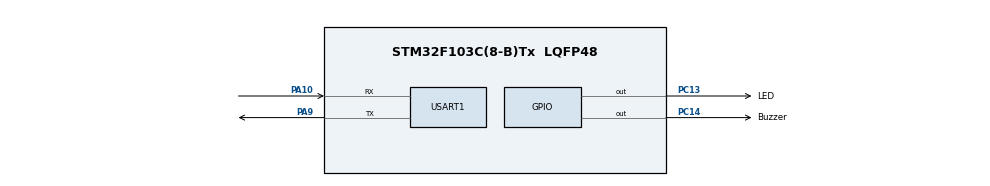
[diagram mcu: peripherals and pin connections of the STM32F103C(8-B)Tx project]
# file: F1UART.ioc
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Mcu.Family=STM32F1
Mcu.Name=STM32F103C(8-B)Tx
Mcu.Package=LQFP48
NVIC.PriorityGroup=NVIC_PRIORITYGROUP_4
NVIC.USART1_IRQn=true\:0\:0\:false\:false\:true\:true\:true\:true
PA10.Mode=Asynchronous
PA10.Signal=USART1_RX
PA13.Mode=Serial_Wire
PA13.Signal=SYS_JTMS-SWDIO
PA14.Mode=Serial_Wire
PA14.Signal=SYS_JTCK-SWCLK
PA9.Mode=Asynchronous
PA9.Signal=USART1_TX
PC13-TAMPER-RTC.GPIO_Label=LED
PC13-TAMPER-RTC.Signal=GPIO_Output
PC14-OSC32_IN.GPIO_Label=Buzzer
PC14-OSC32_IN.Signal=GPIO_Output
PD0-OSC_IN.Mode=HSE-External-Oscillator
PD0-OSC_IN.Signal=RCC_OSC_IN
PD1-OSC_OUT.Mode=HSE-External-Oscillator
PD1-OSC_OUT.Signal=RCC_OSC_OUT
ProjectManager.HeapSize=0x200
ProjectManager.StackSize=0x400
ProjectManager.TargetToolchain=STM32CubeIDE
RCC.APB1Freq_Value=8000000
RCC.APB2Freq_Value=8000000
USART1.VirtualMode=VM_ASYNC
board=custom

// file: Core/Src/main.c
/* USER CODE BEGIN Header */
/**
  ******************************************************************************
  * @file           : main.c
  * @brief          : Main program body
  ******************************************************************************
  * @attention
  *
  * Copyright (c) 2025 STMicroelectronics.
  * All rights reserved.
  *
  * This software is licensed under terms that can be found in the LICENSE file
  * in the root directory of this software component.
  * If no LICENSE file comes with this software, it is provided AS-IS.
  *
  ******************************************************************************
  */
/* USER CODE END Header */
#include "main.h"

/* USER CODE BEGIN PD */
#define F7ID 	0xAA					//F7 discovery board ID
#define Stop 	0x00					//Stop command
#define Sound1	0x01					//Sound 1 command
#define Sound2	0x02					//Sound 2 command
#define Sound3	0x03					//Sound 3 command
#define Sound4	0x04					//Sound 4 command
/* USER CODE END PD */

UART_HandleTypeDef huart1;

/* USER CODE BEGIN PV */
uint8_t RxBuffer[3];		//buffer to receive data
uint8_t sound_id;			//variable to store sound id which should be played
/* USER CODE END PV */

void SystemClock_Config(void);
static void MX_GPIO_Init(void);
static void MX_USART1_UART_Init(void);
/* USER CODE BEGIN PFP */
void StopSound();		//function declaration for stopping all sounds
void PlaySound1();		//function declaration for playing sound 1
void PlaySound2();		//function declaration for playing sound 2
void PlaySound3();		//function declaration for playing sound 3
void PlaySound4();		//function declaration for playing sound 4
/* USER CODE END PFP */

int main(void)
{

  /* MCU Configuration--------------------------------------------------------*/

  /* Reset of all peripherals, Initializes the Flash interface and the Systick. */
  HAL_Init();

  /* Configure the system clock */
  SystemClock_Config();

  /* Initialize all configured peripherals */
  MX_GPIO_Init();
  MX_USART1_UART_Init();
  /* USER CODE BEGIN 2 */
  HAL_UART_Receive_IT(&huart1, RxBuffer, (sizeof(RxBuffer)) );			//Ready to receive data
  /* USER CODE END 2 */

  /* Infinite loop */
  /* USER CODE BEGIN WHILE */
  while (1)
  {
	  if(sound_id == Stop)			//if stop command is received
	  {
		  StopSound();				//stop all sounds
	  }

	  if(sound_id == Sound1)		//if play sound 1 command is received
	  {
		  PlaySound1();				//play sound 1
	  }

	  if(sound_id == Sound2)		//if play sound 2 command is received
	  {
		  PlaySound2();				//play sound 2
	  }

	  if(sound_id == Sound3)		//if play sound 3 command is received
	  {
		  PlaySound3();				//play sound 3
	  }

	  if(sound_id == Sound4)		//if play sound 4 command is received
	  {
		  PlaySound4();				//play sound 4
	  }

    /* USER CODE END WHILE */

  }
}

void SystemClock_Config(void)
{
  RCC_OscInitTypeDef RCC_OscInitStruct = {0};
  RCC_ClkInitTypeDef RCC_ClkInitStruct = {0};

  /** Initializes the RCC Oscillators according to the specified parameters
  * in the RCC_OscInitTypeDef structure.
  */
  RCC_OscInitStruct.OscillatorType = RCC_OSCILLATORTYPE_HSI;
  RCC_OscInitStruct.HSIState = RCC_HSI_ON;
  RCC_OscInitStruct.HSICalibrationValue = RCC_HSICALIBRATION_DEFAULT;
  RCC_OscInitStruct.PLL.PLLState = RCC_PLL_NONE;
  if (HAL_RCC_OscConfig(&RCC_OscInitStruct) != HAL_OK)
  {
    Error_Handler();
  }

  /** Initializes the CPU, AHB and APB buses clocks
  */
  RCC_ClkInitStruct.ClockType = RCC_CLOCKTYPE_HCLK|RCC_CLOCKTYPE_SYSCLK
                              |RCC_CLOCKTYPE_PCLK1|RCC_CLOCKTYPE_PCLK2;
  RCC_ClkInitStruct.SYSCLKSource = RCC_SYSCLKSOURCE_HSI;
  RCC_ClkInitStruct.AHBCLKDivider = RCC_SYSCLK_DIV1;
  RCC_ClkInitStruct.APB1CLKDivider = RCC_HCLK_DIV1;
  RCC_ClkInitStruct.APB2CLKDivider = RCC_HCLK_DIV1;

  if (HAL_RCC_ClockConfig(&RCC_ClkInitStruct, FLASH_LATENCY_0) != HAL_OK)
  {
    Error_Handler();
  }
}

static void MX_USART1_UART_Init(void)
{

  huart1.Instance = USART1;
  huart1.Init.BaudRate = 115200;
  huart1.Init.WordLength = UART_WORDLENGTH_8B;
  huart1.Init.StopBits = UART_STOPBITS_1;
  huart1.Init.Parity = UART_PARITY_NONE;
  huart1.Init.Mode = UART_MODE_TX_RX;
  huart1.Init.HwFlowCtl = UART_HWCONTROL_NONE;
  huart1.Init.OverSampling = UART_OVERSAMPLING_16;
  if (HAL_UART_Init(&huart1) != HAL_OK)
  {
    Error_Handler();
  }

}

static void MX_GPIO_Init(void)
{
  GPIO_InitTypeDef GPIO_InitStruct = {0};

  /* GPIO Ports Clock Enable */
  __HAL_RCC_GPIOC_CLK_ENABLE();
  __HAL_RCC_GPIOD_CLK_ENABLE();
  __HAL_RCC_GPIOA_CLK_ENABLE();

  /*Configure GPIO pin Output Level */
  HAL_GPIO_WritePin(GPIOC, LED_Pin|Buzzer_Pin, GPIO_PIN_RESET);

  /*Configure GPIO pins : LED_Pin Buzzer_Pin */
  GPIO_InitStruct.Pin = LED_Pin|Buzzer_Pin;
  GPIO_InitStruct.Mode = GPIO_MODE_OUTPUT_PP;
  GPIO_InitStruct.Pull = GPIO_NOPULL;
  GPIO_InitStruct.Speed = GPIO_SPEED_FREQ_LOW;
  HAL_GPIO_Init(GPIOC, &GPIO_InitStruct);

}

/* USER CODE BEGIN 4 */

//---Receiving bytes via UART completed callback---------------------------------------------------------
void HAL_UART_RxCpltCallback(UART_HandleTypeDef *huart)						//callback routine function
{
	if(RxBuffer[0] == F7ID)													//if data is sent from F7
	{
		uint8_t BitCheck = ~(RxBuffer[0] ^ RxBuffer[1]);					//perform bit checking

		if(BitCheck == RxBuffer[2])											//check received bits are correct or not
		{
			sound_id = RxBuffer[1];											//store the sound id
		}
	}

	HAL_UART_Receive_IT(&huart1, RxBuffer, (sizeof(RxBuffer)) );			//Ready to receive data
}
//---Receiving bytes via UART completed callback End---------------------------------------------------------

//---Stop all sounds function-------------------------------------------
void StopSound()
{
HAL_GPIO_WritePin(LED_GPIO_Port, LED_Pin, GPIO_PIN_RESET);					//turn the LED off
HAL_GPIO_WritePin(Buzzer_GPIO_Port, Buzzer_Pin, GPIO_PIN_RESET);			//turn the buzzer off
}
//---Stop all sounds function End-------------------------------------------

//---Play sound 1 function-------------------------------------------
void PlaySound1()
{
HAL_GPIO_WritePin(LED_GPIO_Port, LED_Pin, GPIO_PIN_SET);					//turn the LED off
HAL_GPIO_WritePin(Buzzer_GPIO_Port, Buzzer_Pin, GPIO_PIN_SET);				//turn the buzzer off
HAL_Delay(500);
HAL_GPIO_WritePin(LED_GPIO_Port, LED_Pin, GPIO_PIN_RESET);					//turn the LED on
HAL_GPIO_WritePin(Buzzer_GPIO_Port, Buzzer_Pin, GPIO_PIN_RESET);			//turn the buzzer on
HAL_Delay(500);
}
//---Play sound 1 function End-------------------------------------------

//---Play sound 2 function-------------------------------------------
void PlaySound2()
{
HAL_GPIO_WritePin(LED_GPIO_Port, LED_Pin, GPIO_PIN_SET);					//turn the LED off
HAL_GPIO_WritePin(Buzzer_GPIO_Port, Buzzer_Pin, GPIO_PIN_SET);				//turn the buzzer off
HAL_Delay(400);
HAL_GPIO_WritePin(LED_GPIO_Port, LED_Pin, GPIO_PIN_RESET);					//turn the LED on
HAL_GPIO_WritePin(Buzzer_GPIO_Port, Buzzer_Pin, GPIO_PIN_RESET);			//turn the buzzer on
HAL_Delay(100);
}
//---Play sound 2 function End-------------------------------------------

//---Play sound 3 function-------------------------------------------
void PlaySound3()
{
HAL_GPIO_WritePin(LED_GPIO_Port, LED_Pin, GPIO_PIN_SET);					//turn the LED off
HAL_GPIO_WritePin(Buzzer_GPIO_Port, Buzzer_Pin, GPIO_PIN_SET);				//turn the buzzer off
HAL_Delay(100);
HAL_GPIO_WritePin(LED_GPIO_Port, LED_Pin, GPIO_PIN_RESET);					//turn the LED on
HAL_GPIO_WritePin(Buzzer_GPIO_Port, Buzzer_Pin, GPIO_PIN_RESET);			//turn the buzzer on
HAL_Delay(400);
}
//---Play sound 3 function End-------------------------------------------

//---Play sound 4 function-------------------------------------------
void PlaySound4()
{
HAL_GPIO_WritePin(LED_GPIO_Port, LED_Pin, GPIO_PIN_SET);					//turn the LED off
HAL_GPIO_WritePin(Buzzer_GPIO_Port, Buzzer_Pin, GPIO_PIN_SET);				//turn the buzzer off
HAL_Delay(250);
HAL_GPIO_WritePin(LED_GPIO_Port, LED_Pin, GPIO_PIN_RESET);					//turn the LED on
HAL_GPIO_WritePin(Buzzer_GPIO_Port, Buzzer_Pin, GPIO_PIN_RESET);			//turn the buzzer on
HAL_Delay(250);
}
//---Play sound 4 function End-------------------------------------------

/* USER CODE END 4 */

void Error_Handler(void)
{
  __disable_irq();
  while (1)
  {
  }
}
